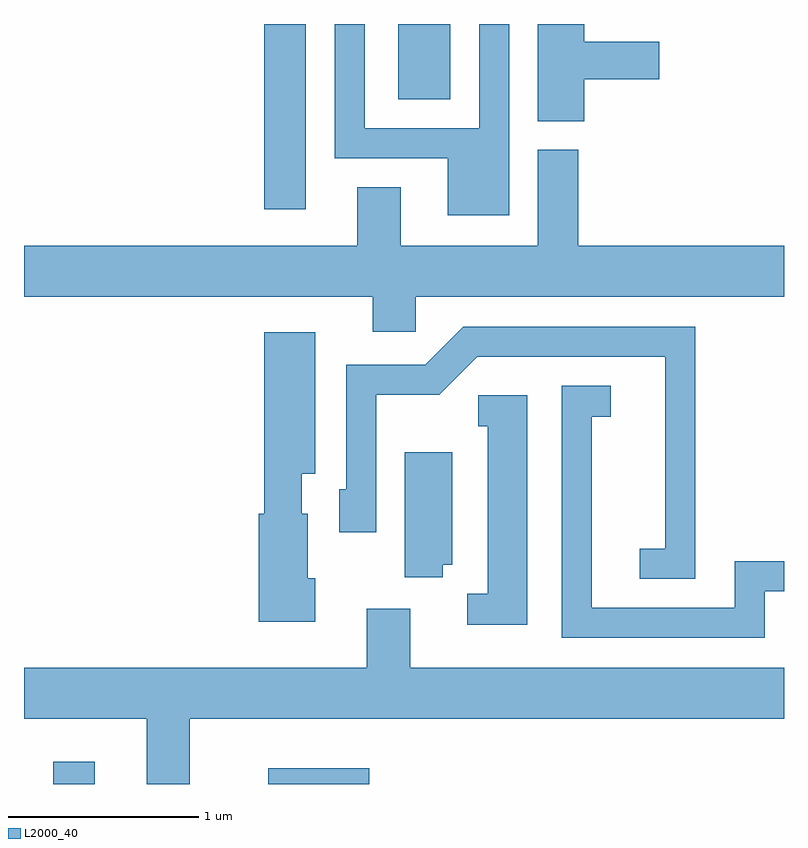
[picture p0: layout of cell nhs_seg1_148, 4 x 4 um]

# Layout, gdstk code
import gdstk
lib = gdstk.Library(unit=1e-6, precision=1e-09)
def R(c, l, rs):  # rectangles x0, y0, x1, y1
    for r in rs: c.add(gdstk.rectangle(r[:2], r[2:], *l))
def P(c, l, *ps):  # polygons
    for p in ps: c.add(gdstk.Polygon(p, *l))
L2000_40 = (2000, 40)

nhs_seg1_148 = lib.new_cell('nhs_seg1_148')
R(nhs_seg1_148, L2000_40, [(189.766,863.712,189.984,863.829), (190.896,863.712,191.428,863.794), (190.876,866.736,191.094,867.712), (191.581,867.316,191.854,867.712)])
P(nhs_seg1_148, L2000_40, [(192.559,867.421),(192.954,867.421),(192.954,867.619),(192.559,867.619),(192.559,867.712),(192.316,867.712),(192.316,867.201),(192.559,867.201)],
  [(192.164,867.712),(192.006,867.712),(192.006,867.164),(191.404,867.164),(191.404,867.712),(191.246,867.712),(191.246,867.006),(191.841,867.006),(191.841,866.706),(192.164,866.706)],
  [(191.674,866.276),(193.611,866.276),(193.611,866.544),(192.529,866.544),(192.529,867.049),(192.316,867.049),(192.316,866.544),(191.594,866.544),(191.594,866.854),(191.366,866.854),(191.366,866.544),(189.611,866.544),(189.611,866.276),(191.446,866.276),(191.446,866.091),(191.674,866.091)],
  [(193.144,866.119),(191.924,866.119),(191.724,865.919),(191.306,865.919),(191.306,865.264),(191.271,865.264),(191.271,865.036),(191.464,865.036),(191.464,865.761),(191.797,865.761),(191.997,865.961),(192.986,865.961),(192.986,864.949),(192.853,864.949),(192.853,864.791),(193.144,864.791)],
  [(191.144,864.794),(191.104,864.794),(191.104,865.134),(191.074,865.134),(191.074,865.346),(191.144,865.346),(191.144,866.089),(190.876,866.089),(190.876,865.134),(190.846,865.134),(190.846,864.566),(191.144,864.566)],
  [(193.509,864.726),(193.611,864.726),(193.611,864.884),(193.351,864.884),(193.351,864.639),(192.599,864.639),(192.599,865.646),(192.698,865.646),(192.698,865.809),(192.441,865.809),(192.441,864.481),(193.509,864.481)],
  [(192.259,865.759),(192.003,865.759),(192.003,865.596),(192.051,865.596),(192.051,864.714),(191.943,864.714),(191.943,864.551),(192.259,864.551)],
  [(191.814,864.866),(191.864,864.866),(191.864,865.459),(191.616,865.459),(191.616,864.801),(191.814,864.801)],
  [(190.484,864.056),(193.611,864.056),(193.611,864.324),(191.644,864.324),(191.644,864.634),(191.416,864.634),(191.416,864.324),(189.611,864.324),(189.611,864.056),(190.256,864.056),(190.256,863.712),(190.484,863.712)])

lib.write_gds('nhs_seg1_148.gds')
